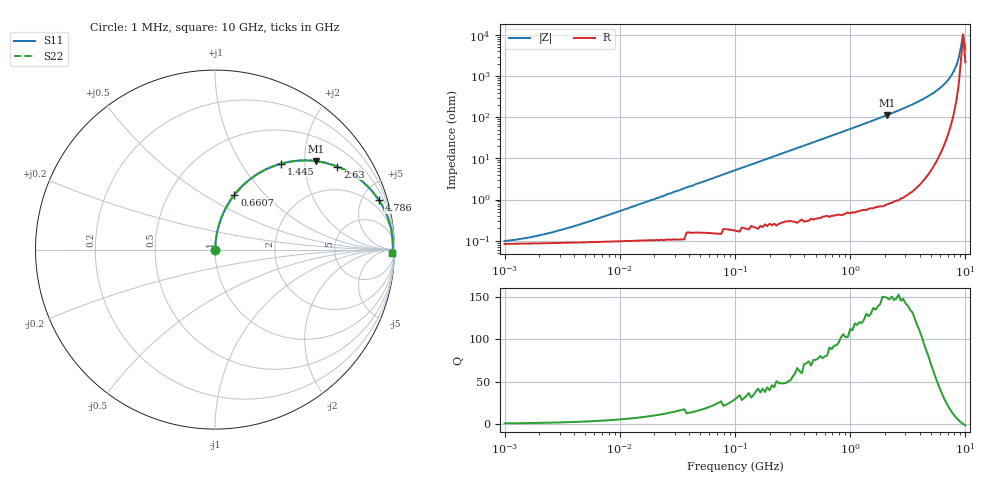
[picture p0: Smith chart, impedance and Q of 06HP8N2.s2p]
# MHz S MA R 50
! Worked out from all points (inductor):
!   201 points, 1 MHz to 10 GHz, reference 50 ohm
!   read as one part in series: L = 8.2 nH near 5.495 MHz
!   highest Q = 150 at 2.089 GHz (marker M1), where L = 8.62 nH
!   self-resonance near 9.12 GHz
!   S11 on the Smith chart (normalised r, x): 1 MHz: 1.00, +0.00; 660.7 MHz: 1.01, +0.69; 1.445 GHz: 1.01, +1.52; 2.63 GHz: 1.02, +2.93; 4.786 GHz: 1.07, +6.60; 10 GHz: 46, -79
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1  0.0008446 37.5  0.999 -0.0  0.999 -0.0  0.0008446 37.5
1.995  0.001256 54.8  0.999 -0.1  0.999 -0.1  0.001256 54.8
4.786  0.002598 71.4  0.999 -0.1  0.999 -0.1  0.002598 71.4
21.878  0.011 83.5  0.999 -0.6  0.999 -0.6  0.011 83.5
26.303  0.014 84.1  0.999 -0.8  0.999 -0.8  0.014 84.1
104.713  0.054 84.9  0.997 -3.1  0.997 -3.1  0.054 84.9
239.883  0.122 81.8  0.99 -7.0  0.99 -7.0  0.122 81.8
478.63  0.239 75.4  0.968 -13.8  0.968 -13.8  0.239 75.4
660.693  0.323 70.5  0.943 -18.8  0.943 -18.8  0.323 70.5
1000  0.46 62.1  0.884 -27.4  0.884 -27.4  0.46 62.1
1445.44  0.604 52.4  0.792 -37.2  0.792 -37.2  0.604 52.4
2089.296  0.747 41.3  0.66 -48.3  0.66 -48.3  0.747 41.3
2187.762  0.763 39.9  0.641 -49.7  0.641 -49.7  0.763 39.9
2630.268  0.824 34.2  0.562 -55.5  0.562 -55.5  0.824 34.2
3467.369  0.897 25.8  0.436 -63.7  0.436 -63.7  0.897 25.8
4786.301  0.954 16.8  0.289 -72.5  0.289 -72.5  0.954 16.8
6309.573  0.981 9.8  0.17 -78.6  0.17 -78.6  0.981 9.8
7585.776  0.989 5.3  0.093 -80.7  0.093 -80.7  0.989 5.3
8317.638  0.991 3.2  0.056 -79.1  0.056 -79.1  0.991 3.2
8709.636  0.991 2.1  0.038 -75.4  0.038 -75.4  0.991 2.1
9549.926  0.99 -0.0  0.009577 2.1  0.009577 2.1  0.99 -0.0
10000  0.989 -1.1  0.022 60.1  0.022 60.1  0.989 -1.1
